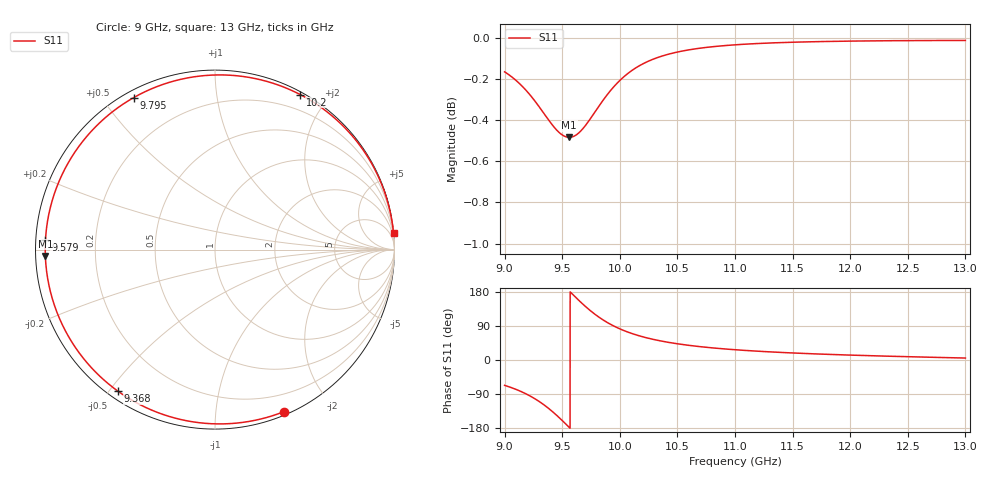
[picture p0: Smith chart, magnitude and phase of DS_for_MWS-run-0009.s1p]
! TOUCHSTONE file generated by CST DESIGN STUDIO
! Date and time: Tue Feb  4 14:05:43 2025
! Project name: C:\Work\MatlabApps\UnitCellOptimizationMatlab\CST\unitcell.cst
! Tree item: Tasks\Sweep1\SPara1\S-Parameters
! Header version: 2024
! Port assignment regex: !\s*Touchstone port\s*([0-9]+)\s*=\s*(CST MWS port|CST DES external port|CST DES block port)\s*(.+)\s* \(\"(.*)\"\)(\s*mode\s*([0-9]+))?.*
! Touchstone port assignment:
! Touchstone port 1 = CST DES external port 1 ("")
# GHz S MA R 50
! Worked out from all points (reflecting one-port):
!   4001 points, 9 GHz to 13 GHz, reference 50 ohm
!   lowest |S11| = -0.5 dB at 9.561 GHz (marker M1), VSWR 35.95, Z = 1.39 - j0.945 ohm
!   phase of S11 starts at -67 deg and turns -288 deg over the sweep
!   S11 on the Smith chart (normalised r, x): 9 GHz: 0.03, -1.51; 9.368 GHz: 0.03, -0.53; 9.579 GHz: 0.03, +0.03; 9.795 GHz: 0.03, +0.60; 10.2 GHz: 0.03, +1.69; 13 GHz: 0, +22
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9  0.9812 -66.9
9.042  0.9794 -71.1
9.108  0.976 -78.7
9.221  0.9686 -94.9
9.299  0.9623 -109.3
9.368  0.9563 -124.4
9.432  0.9511 -140.6
9.5  0.9472 -159.7
9.561  0.9459 -177.8
9.579  0.946 176.7
9.634  0.9477 160.3
9.694  0.9516 143.3
9.744  0.9557 130.3
9.795  0.9604 118.2
9.839  0.9643 108.9
9.887  0.9684 99.7
9.94  0.9725 90.9
10  0.9765 82.2
10.096  0.9815 70.8
10.2  0.9856 61.1
10.338  0.9893 51.3
10.5  0.9921 42.8
10.721  0.9945 34.4
11  0.9961 27.1
11.5  0.9976 18.5
12  0.9982 12.9
12.5  0.9985 8.7
13  0.9986 5.2
